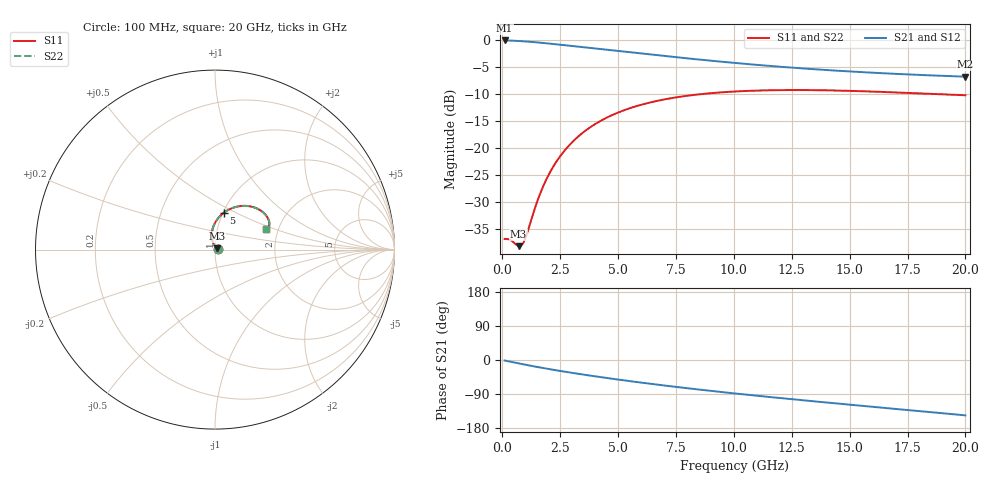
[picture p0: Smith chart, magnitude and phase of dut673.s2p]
! Touchstone file exported from HFSS 2024.1.0
!  File:  C:/UserFiles/LocalFiles/RDL_TSV_Batchsim/temp_RDL_TSV_673_1779814842.aedt
!  Generated:  01:12:59 AM May 27, 2026
!  Design:  RDL_TSV
!  Project:  temp_RDL_TSV_673_1779814842
!  Setup:  Setup1
!  Solution:  Sweep
! Variables:
!  dtsv = 11.39um
!  hbump = 3um
!  htsv = 56.65um
!  ldown = 355.12um
!  lrdl = 232.58um
!  p = 40
!  p1 = 42.15um
!  rhole = 10um
!  subl = 1995.68um
!  t = 450um
!  tdown = 3.84um
!  trdl = 3.38um
!  viad = 10um
!  wdown = 17.05um
!  wrdl = 11.68um
!  xbump = 18um
# GHz S MA R 50.000000
! Terminal data exported
! Port[1] = TM1_1_T1
! Port[2] = TM1_4_T1
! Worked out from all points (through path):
!   200 points, 100 MHz to 20 GHz, reference 50 ohm
!   highest |S21| = -0.13 dB at 100 MHz (marker M1); lowest = -6.8 dB at 20 GHz (marker M2)
!   group delay of S21, straight-line fit = 19.2 ps
!   lowest |S11| = -38.2 dB at 700 MHz (marker M3), VSWR 1.03, Z = 50.9 + j0.841 ohm
!   |S11| at or under -10 dB: start of sweep to 8.703 GHz; 18.47 GHz to end of sweep
!   |S22| runs from -38.2 to -9.3 dB; largest |S21 - S12| = 1.6e-14
!   S11 on the Smith chart (normalised r, x): 100 MHz: 1.03, +0.00; 5 GHz: 1.01, +0.44; 20 GHz: 1.72, +0.44
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0.1  0.01442 5.0  0.9853 -1.3  0.9853 -1.3  0.01442 5.0
! Gamma 0 0 0 0
! Port Impedance 50 0 50 0
0.3  0.01427 13.9  0.983 -3.9  0.983 -3.9  0.01427 13.9
0.7  0.01236 41.9  0.9743 -8.9  0.9743 -8.9  0.01236 41.9
0.8  0.01241 53.5  0.9715 -10.1  0.9715 -10.1  0.01241 53.5
0.9  0.01314 65.8  0.9684 -11.3  0.9684 -11.3  0.01314 65.9
1  0.01468 77.2  0.9651 -12.5  0.9651 -12.5  0.01468 77.2
1.4  0.02736 101.7  0.9499 -17.2  0.9499 -17.2  0.02737 101.7
1.6  0.03616 105.4  0.9414 -19.4  0.9414 -19.4  0.03617 105.4
1.8  0.0459 106.6  0.9325 -21.6  0.9325 -21.6  0.04591 106.5
2.1  0.06165 105.8  0.9188 -24.8  0.9188 -24.8  0.06166 105.8
2.7  0.09509 100.6  0.8906 -30.9  0.8906 -30.9  0.09509 100.6
3.5  0.1395 91.9  0.8533 -38.5  0.8533 -38.5  0.1395 91.9
4.2  0.1756 84.3  0.8218 -44.8  0.8218 -44.8  0.1756 84.3
5  0.2123 76.3  0.7871 -51.6  0.7871 -51.6  0.2123 76.3
5.8  0.2437 69.1  0.7541 -58.1  0.7541 -58.1  0.2436 69.1
6.8  0.2755 61.2  0.7152 -65.8  0.7152 -65.8  0.2754 61.2
8.4  0.3113 50.6  0.6593 -77.3  0.6593 -77.3  0.3111 50.6
10.1  0.3329 41.7  0.6089 -88.6  0.6089 -88.6  0.3327 41.7
11.7  0.3417 35.1  0.5695 -98.6  0.5695 -98.6  0.3414 35.1
13.4  0.3423 29.6  0.5354 -108.7  0.5354 -108.7  0.3419 29.6
16.7  0.3277 23.3  0.4872 -127.5  0.4872 -127.5  0.3272 23.3
20  0.3069 22.2  0.4558 -146.1  0.4558 -146.1  0.3064 22.3
